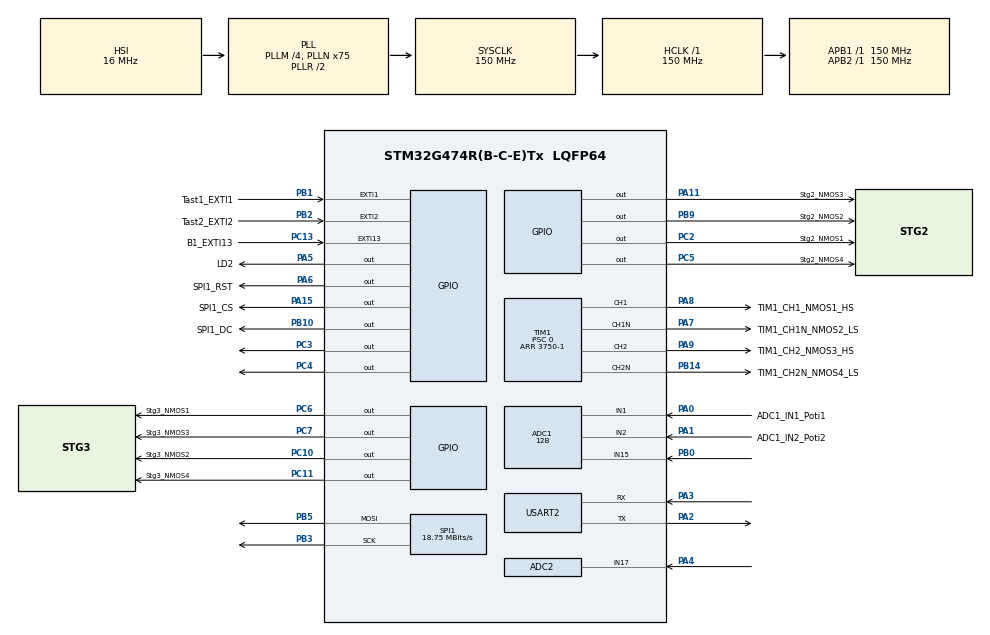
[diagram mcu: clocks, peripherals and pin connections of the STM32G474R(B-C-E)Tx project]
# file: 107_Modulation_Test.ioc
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ADC1.Channel-2\#ChannelRegularConversion=ADC_CHANNEL_1
ADC1.Channel-3\#ChannelRegularConversion=ADC_CHANNEL_2
ADC1.Channel-4\#ChannelRegularConversion=ADC_CHANNEL_15
ADC1.ContinuousConvMode=ENABLE
ADC1.DMAContinuousRequests=ENABLE
ADC1.EOCSelection=ADC_EOC_SEQ_CONV
ADC1.NbrOfConversion=3
ADC1.NbrOfConversionFlag=1
ADC1.OffsetNumber-2\#ChannelRegularConversion=ADC_OFFSET_NONE
ADC1.OffsetNumber-3\#ChannelRegularConversion=ADC_OFFSET_NONE
ADC1.OffsetNumber-4\#ChannelRegularConversion=ADC_OFFSET_NONE
ADC1.Overrun=ADC_OVR_DATA_PRESERVED
ADC1.Rank-2\#ChannelRegularConversion=1
ADC1.Rank-3\#ChannelRegularConversion=2
ADC1.Rank-4\#ChannelRegularConversion=3
ADC1.Resolution=ADC_RESOLUTION_12B
ADC1.SamplingTime-2\#ChannelRegularConversion=ADC_SAMPLETIME_640CYCLES_5
ADC1.SamplingTime-3\#ChannelRegularConversion=ADC_SAMPLETIME_640CYCLES_5
ADC1.SamplingTime-4\#ChannelRegularConversion=ADC_SAMPLETIME_640CYCLES_5
ADC1.master=1
ADC2.Channel-0\#ChannelRegularConversion=ADC_CHANNEL_17
ADC2.ContinuousConvMode=ENABLE
ADC2.DMAContinuousRequests=ENABLE
ADC2.EOCSelection=ADC_EOC_SEQ_CONV
ADC2.NbrOfConversion=1
ADC2.NbrOfConversionFlag=1
ADC2.OffsetNumber-0\#ChannelRegularConversion=ADC_OFFSET_NONE
ADC2.Overrun=ADC_OVR_DATA_PRESERVED
ADC2.Rank-0\#ChannelRegularConversion=1
ADC2.Resolution=ADC_RESOLUTION_12B
ADC2.SamplingTime-0\#ChannelRegularConversion=ADC_SAMPLETIME_640CYCLES_5
Dma.ADC1.0.Direction=DMA_PERIPH_TO_MEMORY
Dma.ADC1.0.EventEnable=DISABLE
Dma.ADC1.0.Instance=DMA1_Channel3
Dma.ADC1.0.MemDataAlignment=DMA_MDATAALIGN_WORD
Dma.ADC1.0.MemInc=DMA_MINC_ENABLE
Dma.ADC1.0.Mode=DMA_CIRCULAR
Dma.ADC1.0.PeriphDataAlignment=DMA_PDATAALIGN_WORD
Dma.ADC1.0.PeriphInc=DMA_PINC_DISABLE
Dma.ADC1.0.Polarity=HAL_DMAMUX_REQ_GEN_RISING
Dma.ADC1.0.Priority=DMA_PRIORITY_LOW
Dma.ADC1.0.RequestNumber=1
Dma.ADC1.0.SignalID=NONE
Dma.ADC1.0.SyncEnable=DISABLE
Dma.ADC1.0.SyncPolarity=HAL_DMAMUX_SYNC_NO_EVENT
Dma.ADC1.0.SyncRequestNumber=1
Dma.ADC1.0.SyncSignalID=NONE
Dma.ADC2.1.Direction=DMA_PERIPH_TO_MEMORY
Dma.ADC2.1.EventEnable=DISABLE
Dma.ADC2.1.Instance=DMA2_Channel1
Dma.ADC2.1.MemDataAlignment=DMA_MDATAALIGN_WORD
Dma.ADC2.1.MemInc=DMA_MINC_ENABLE
Dma.ADC2.1.Mode=DMA_CIRCULAR
Dma.ADC2.1.PeriphDataAlignment=DMA_PDATAALIGN_WORD
Dma.ADC2.1.PeriphInc=DMA_PINC_DISABLE
Dma.ADC2.1.Polarity=HAL_DMAMUX_REQ_GEN_RISING
Dma.ADC2.1.Priority=DMA_PRIORITY_LOW
Dma.ADC2.1.RequestNumber=1
Dma.ADC2.1.SignalID=NONE
Dma.ADC2.1.SyncEnable=DISABLE
Dma.ADC2.1.SyncPolarity=HAL_DMAMUX_SYNC_NO_EVENT
Dma.ADC2.1.SyncRequestNumber=1
Dma.ADC2.1.SyncSignalID=NONE
Dma.Request0=ADC1
Dma.Request1=ADC2
Dma.Request2=TIM1_CH1
Dma.Request3=TIM1_CH2
Dma.TIM1_CH1.2.Direction=DMA_MEMORY_TO_PERIPH
Dma.TIM1_CH1.2.EventEnable=DISABLE
Dma.TIM1_CH1.2.Instance=DMA1_Channel1
Dma.TIM1_CH1.2.MemDataAlignment=DMA_MDATAALIGN_WORD
Dma.TIM1_CH1.2.MemInc=DMA_MINC_ENABLE
Dma.TIM1_CH1.2.Mode=DMA_CIRCULAR
Dma.TIM1_CH1.2.PeriphDataAlignment=DMA_PDATAALIGN_WORD
Dma.TIM1_CH1.2.PeriphInc=DMA_PINC_DISABLE
Dma.TIM1_CH1.2.Polarity=HAL_DMAMUX_REQ_GEN_RISING
Dma.TIM1_CH1.2.Priority=DMA_PRIORITY_LOW
Dma.TIM1_CH1.2.RequestNumber=1
Dma.TIM1_CH1.2.SignalID=NONE
Dma.TIM1_CH1.2.SyncEnable=DISABLE
Dma.TIM1_CH1.2.SyncPolarity=HAL_DMAMUX_SYNC_NO_EVENT
Dma.TIM1_CH1.2.SyncRequestNumber=1
Dma.TIM1_CH1.2.SyncSignalID=NONE
Dma.TIM1_CH2.3.Direction=DMA_MEMORY_TO_PERIPH
Dma.TIM1_CH2.3.EventEnable=DISABLE
Dma.TIM1_CH2.3.Instance=DMA1_Channel2
Dma.TIM1_CH2.3.MemDataAlignment=DMA_MDATAALIGN_WORD
Dma.TIM1_CH2.3.MemInc=DMA_MINC_ENABLE
Dma.TIM1_CH2.3.Mode=DMA_CIRCULAR
Dma.TIM1_CH2.3.PeriphDataAlignment=DMA_PDATAALIGN_WORD
Dma.TIM1_CH2.3.PeriphInc=DMA_PINC_DISABLE
Dma.TIM1_CH2.3.Polarity=HAL_DMAMUX_REQ_GEN_RISING
Dma.TIM1_CH2.3.Priority=DMA_PRIORITY_LOW
Dma.TIM1_CH2.3.RequestNumber=1
Dma.TIM1_CH2.3.SignalID=NONE
Dma.TIM1_CH2.3.SyncEnable=DISABLE
Dma.TIM1_CH2.3.SyncPolarity=HAL_DMAMUX_SYNC_NO_EVENT
Dma.TIM1_CH2.3.SyncRequestNumber=1
Dma.TIM1_CH2.3.SyncSignalID=NONE
Mcu.Family=STM32G4
Mcu.Name=STM32G474R(B-C-E)Tx
Mcu.Package=LQFP64
NVIC.DMA1_Channel1_IRQn=true\:0\:0\:false\:false\:true\:false\:true\:true
NVIC.DMA1_Channel2_IRQn=true\:0\:0\:false\:false\:true\:false\:true\:true
NVIC.DMA1_Channel3_IRQn=true\:0\:0\:false\:false\:true\:false\:true\:true
NVIC.DMA2_Channel1_IRQn=true\:0\:0\:false\:false\:true\:false\:true\:true
NVIC.EXTI15_10_IRQn=true\:0\:0\:false\:false\:true\:true\:true\:true
NVIC.EXTI1_IRQn=true\:0\:0\:false\:false\:true\:true\:true\:true
NVIC.EXTI2_IRQn=true\:0\:0\:false\:false\:true\:true\:true\:true
NVIC.PriorityGroup=NVIC_PRIORITYGROUP_4
NVIC.TIM1_TRG_COM_TIM17_IRQn=true\:0\:0\:false\:false\:true\:true\:true\:true
NVIC.TIM1_UP_TIM16_IRQn=true\:0\:0\:false\:false\:true\:true\:true\:true
PA0.GPIO_Label=ADC1_IN1_Poti1
PA0.Mode=IN1-Single-Ended
PA0.Signal=ADC1_IN1
PA1.GPIO_Label=ADC1_IN2_Poti2
PA1.Mode=IN2-Single-Ended
PA1.Signal=ADC1_IN2
PA11.GPIO_Label=Stg2_NMOS3
PA11.Signal=GPIO_Output
PA13.Mode=Serial_Wire
PA13.Signal=SYS_JTMS-SWDIO
PA14.Mode=Serial_Wire
PA14.Signal=SYS_JTCK-SWCLK
PA15.GPIO_Label=SPI1_CS
PA15.Signal=GPIO_Output
PA2.Mode=Asynchronous
PA2.Signal=USART2_TX
PA3.Mode=Asynchronous
PA3.Signal=USART2_RX
PA4.Mode=IN17-Single-Ended
PA4.Signal=ADC2_IN17
PA5.GPIO_Label=LD2
PA5.Signal=GPIO_Output
PA6.GPIO_Label=SPI1_RST
PA6.Signal=GPIO_Output
PA7.GPIO_Label=TIM1_CH1N_NMOS2_LS
PA7.GPIO_ModeDefaultPP=GPIO_MODE_AF_PP
PA7.GPIO_PuPd=GPIO_PULLDOWN
PA7.GPIO_Speed=GPIO_SPEED_FREQ_LOW
PA7.Mode=PWM Generation1 CH1 CH1N
PA7.Signal=TIM1_CH1N
PA8.GPIO_Label=TIM1_CH1_NMOS1_HS
PA8.GPIO_ModeDefaultPP=GPIO_MODE_AF_PP
PA8.GPIO_PuPd=GPIO_PULLDOWN
PA8.GPIO_Speed=GPIO_SPEED_FREQ_LOW
PA8.Signal=S_TIM1_CH1
PA9.GPIO_Label=TIM1_CH2_NMOS3_HS
PA9.GPIO_ModeDefaultPP=GPIO_MODE_AF_PP
PA9.GPIO_PuPd=GPIO_PULLDOWN
PA9.Signal=S_TIM1_CH2
PB0.Mode=IN15-Single-Ended
PB0.Signal=ADC1_IN15
PB1.GPIO_Label=Tast1_EXTI1
PB1.GPIO_ModeDefaultEXTI=GPIO_MODE_IT_RISING
PB1.GPIO_PuPd=GPIO_PULLDOWN
PB1.Signal=GPXTI1
PB10.GPIO_Label=SPI1_DC
PB10.Signal=GPIO_Output
PB14.GPIO_Label=TIM1_CH2N_NMOS4_LS
PB14.GPIO_ModeDefaultPP=GPIO_MODE_AF_PP
PB14.GPIO_PuPd=GPIO_PULLDOWN
PB14.Mode=PWM Generation2 CH2 CH2N
PB14.Signal=TIM1_CH2N
PB2.GPIO_Label=Tast2_EXTI2
PB2.GPIO_PuPd=GPIO_PULLDOWN
PB2.Signal=GPXTI2
PB3.Mode=TX_Only_Simplex_Unidirect_Master
PB3.Signal=SPI1_SCK
PB5.Mode=TX_Only_Simplex_Unidirect_Master
PB5.Signal=SPI1_MOSI
PB9.GPIO_Label=Stg2_NMOS2
PB9.Signal=GPIO_Output
PC10.GPIO_Label=Stg3_NMOS2
PC10.Signal=GPIO_Output
PC11.GPIO_Label=Stg3_NMOS4
PC11.Signal=GPIO_Output
PC13.GPIO_Label=B1_EXTI13
PC13.GPIO_ModeDefaultEXTI=GPIO_MODE_IT_RISING
PC13.GPIO_PuPd=GPIO_NOPULL
PC13.Signal=GPXTI13
PC2.GPIO_Label=Stg2_NMOS1
PC2.Signal=GPIO_Output
PC3.Signal=GPIO_Output
PC4.Signal=GPIO_Output
PC5.GPIO_Label=Stg2_NMOS4
PC5.Signal=GPIO_Output
PC6.GPIO_Label=Stg3_NMOS1
PC6.Signal=GPIO_Output
PC7.GPIO_Label=Stg3_NMOS3
PC7.Signal=GPIO_Output
PF0-OSC_IN.Mode=HSE-External-Oscillator
PF0-OSC_IN.Signal=RCC_OSC_IN
PF1-OSC_OUT.Mode=HSE-External-Oscillator
PF1-OSC_OUT.Signal=RCC_OSC_OUT
ProjectManager.HeapSize=0x200
ProjectManager.StackSize=0x400
ProjectManager.TargetToolchain=STM32CubeIDE
RCC.ADC12Freq_Value=150000000
RCC.ADC345Freq_Value=150000000
RCC.AHBFreq_Value=150000000
RCC.APB1Freq_Value=150000000
RCC.APB1TimFreq_Value=150000000
RCC.APB2Freq_Value=150000000
RCC.APB2TimFreq_Value=150000000
RCC.CortexFreq_Value=150000000
RCC.EXTERNAL_CLOCK_VALUE=12288000
RCC.HCLKFreq_Value=150000000
RCC.HSE_VALUE=48000000
RCC.HSI48_VALUE=48000000
RCC.HSI_VALUE=16000000
RCC.LSE_VALUE=32768
RCC.PLLM=RCC_PLLM_DIV4
RCC.PLLN=75
RCC.SYSCLKFreq_VALUE=150000000
RCC.SYSCLKSource=RCC_SYSCLKSOURCE_PLLCLK
RCC.USBFreq_Value=150000000
RCC.VCOOutputFreq_Value=300000000
SH.S_TIM1_CH1.0=TIM1_CH1,PWM Generation1 CH1 CH1N
SH.S_TIM1_CH2.0=TIM1_CH2,PWM Generation2 CH2 CH2N
SPI1.BaudRatePrescaler=SPI_BAUDRATEPRESCALER_8
SPI1.CLKPolarity=SPI_POLARITY_LOW
SPI1.CalculateBaudRate=18.75 MBits/s
SPI1.DataSize=SPI_DATASIZE_8BIT
SPI1.Direction=SPI_DIRECTION_2LINES
SPI1.Mode=SPI_MODE_MASTER
SPI1.VirtualType=VM_MASTER
TIM1.AsymmetricalDeadTime=DISABLE
TIM1.AutoReloadPreload=TIM_AUTORELOAD_PRELOAD_ENABLE
TIM1.AutomaticOutput=TIM_AUTOMATICOUTPUT_ENABLE
TIM1.Channel-PWM\ Generation1\ CH1\ CH1N=TIM_CHANNEL_1
TIM1.Channel-PWM\ Generation2\ CH2\ CH2N=TIM_CHANNEL_2
TIM1.CounterMode=TIM_COUNTERMODE_CENTERALIGNED2
TIM1.DeadTime=139
TIM1.OCFastMode_PWM-PWM\ Generation1\ CH1\ CH1N=TIM_OCFAST_ENABLE
TIM1.OCFastMode_PWM-PWM\ Generation2\ CH2\ CH2N=TIM_OCFAST_ENABLE
TIM1.OCIdleState_1=TIM_OCIDLESTATE_RESET
TIM1.OCIdleState_2=TIM_OCIDLESTATE_RESET
TIM1.OCMode_PWM-PWM\ Generation2\ CH2\ CH2N=TIM_OCMODE_PWM2
TIM1.OCNIdleState_1=TIM_OCNIDLESTATE_RESET
TIM1.OCNIdleState_2=TIM_OCNIDLESTATE_RESET
TIM1.OCNPolarity_1=TIM_OCNPOLARITY_HIGH
TIM1.OCNPolarity_2=TIM_OCNPOLARITY_HIGH
TIM1.OCPolarity_1=TIM_OCPOLARITY_HIGH
TIM1.OCPolarity_2=TIM_OCPOLARITY_HIGH
TIM1.OffStateIDLEMode=TIM_OSSI_DISABLE
TIM1.OffStateRunMode=TIM_OSSR_DISABLE
TIM1.PeriodNoDither=3750-1
TIM1.Prescaler=0
TIM1.RepetitionCounter=0
TIM16.PeriodNoDither=1000
TIM16.Prescaler=15000 - 1
TIM17.PeriodNoDither=5000
TIM17.Prescaler=15000-1
USART2.VirtualMode-Asynchronous=VM_ASYNC
VP_SYS_VS_DBSignals.Mode=DisableDeadBatterySignals
VP_TIM16_VS_ClockSourceINT.Mode=Enable_Timer
VP_TIM17_VS_ClockSourceINT.Mode=Enable_Timer
VP_TIM1_VS_ClockSourceINT.Mode=Internal
board=custom

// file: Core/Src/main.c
/* USER CODE BEGIN Header */
/**
 ******************************************************************************
 * @file           : main.c
 * @brief          : Main program body
 ******************************************************************************
 Mit diesem Code wird ein Sinussignal mit 4 PWM Signalen moduliert. Der Code ist
 für eine H-Brücke geeignet.

 State IDLE:
 Im State IDLE sind die ADC-Messungen und PWM Signale gestoppt.

 State SINUS_MOD:
 Im State ADC_Values werden die ADC Werte auf dem Display und in der Putty Konsole angezeigt.
 Wenn ein Taster gedrückt wird, erfolgt eine Meldung auf dem Display und in der Konsole.
 Die ADC Werte werden mit dem DMA direkt vom ADC in die Arrays AD_RES_BUFFER_ADC1
 und AD_RES_BUFFER_ADC2 übertragen. Dies benötigt keine CPU Zeit und es können mehrere Kanäle
 eines ADCs ausgelesen werden ohne das die HAL neu konfiguriert werden muss.
 Mit der Timer Callback Funktion HAL_TIM_PeriodElapsedCallback wird das Display und
 die Konsole alle 0.5s aktualisiert.
 Die PWM Signale können dynamisch mit der funktion in Bezug auf die Frequenz f0
 und Amplitude A0 erzeugt werden. Die LookUp Tabelle welche für das CCR Register der
 Timerbausteine erstellt wird, wird in der Konsole beim Übergang vom State IDLE
 zum State SINUS_MOD angezeigt. Die dynamische allozierung ist in der Funktion
 set_pwm_values() umgesetzt und die Freigabe des Speichers erfolt im leave der
 State Machine.

 Der Blaue User Button B1 wird für die Umschaltung zwischen den States verwendet.
 Die externen Buttons haben zurzeit noch keine Funktion.

 ******************************************************************************
 */
/* USER CODE END Header */
#include "main.h"

/* USER CODE BEGIN Includes */
#include "ST7735.h"
#include "GFX_FUNCTIONS.h"
#include "task_handler.h"
#include <stdbool.h>
#include <math.h>
/* USER CODE END Includes */

ADC_HandleTypeDef hadc1;
ADC_HandleTypeDef hadc2;
DMA_HandleTypeDef hdma_adc1;
DMA_HandleTypeDef hdma_adc2;

SPI_HandleTypeDef hspi1;

TIM_HandleTypeDef htim1;
TIM_HandleTypeDef htim16;
TIM_HandleTypeDef htim17;
DMA_HandleTypeDef hdma_tim1_ch1;
DMA_HandleTypeDef hdma_tim1_ch2;

UART_HandleTypeDef huart2;

/* USER CODE BEGIN PV */
uint8_t px_ofs2 = 15;			// Offset in pixel
// Arrays für ADC Messungen, DMA schreibt direkt in diese Arrays
uint32_t AD_RES_BUFFER_ADC1[3];
uint32_t AD_RES_BUFFER_ADC2[1];
// Char Array für Konsole
char msg_console[80];
// Char Array für Display
char msg_display[20];
// PWM Modulation
const uint32_t fPWM = 20000;	// Schaltfrequenz in [Hz]
const uint32_t f0 = 250;		// Zu modulierende Frequenz [Hz]
const float A0 = 1;				// Zu modulierende Amplitude [0...1]
/* USER CODE END PV */

void SystemClock_Config(void);
static void MX_GPIO_Init(void);
static void MX_DMA_Init(void);
static void MX_SPI1_Init(void);
static void MX_TIM16_Init(void);
static void MX_ADC1_Init(void);
static void MX_USART2_UART_Init(void);
static void MX_TIM17_Init(void);
static void MX_ADC2_Init(void);
static void MX_TIM1_Init(void);

/* USER CODE BEGIN 0 */
/* Interrupts *****************************************************************/
// GPIO Callback
void HAL_GPIO_EXTI_Callback(uint16_t GPIO_Pin) {
	/* Prevent unused argument(s) compilation warning */
	UNUSED(GPIO_Pin);
	// Interrupt Routine
	switch (GPIO_Pin) {
	case B1_EXTI13_Pin: // B1 pressed
		switch (handler_state) {
		case IDLE:
			set_handler_state(SINUS_MOD);
			break;
		case SINUS_MOD:
			set_handler_state(IDLE);
			break;
		default:
			set_handler_state(IDLE);
			break;
		}
		break;
	case Tast1_EXTI1_Pin: // Taster1 pressed
		// Display
		// Clear Last Button Message
		ST7735_FillRectangle(0, 6 * px_ofs2, 0, px_ofs2, BLACK);
		sprintf(msg_display, "Taster1 gedrueckt!");
		ST7735_WriteString(0, 7 * px_ofs2, msg_display, Font_7x10, GREEN,
		BLACK);
		// Console
		sprintf(msg_console, "Taster1 gedrückt! \r\n");
		HAL_UART_Transmit(&huart2, (uint8_t*) msg_console, strlen(msg_console),
		HAL_MAX_DELAY);
		break;
	case Tast2_EXTI2_Pin: // Taster2 pressed
		// Display
		// Clear Last Button Message
		ST7735_FillRectangle(0, 6 * px_ofs2, 0, px_ofs2, BLACK);
		sprintf(msg_display, "Taster2 gedrueckt!");
		ST7735_WriteString(0, 7 * px_ofs2, msg_display, Font_7x10, GREEN,
		BLACK);
		// Console
		sprintf(msg_console, "Taster2 gedrückt! \r\n");
		HAL_UART_Transmit(&huart2, (uint8_t*) msg_console, strlen(msg_console),
		HAL_MAX_DELAY);
		break;
	default:
		break;
	}
}

// Timer timeout Callback
void HAL_TIM_PeriodElapsedCallback(TIM_HandleTypeDef *htim) {
	// Überprüfe welcher Timer diese callback Funktion aufruft
	// time_val um 100ms inkrementieren
	if (htim == &htim16) {
		HAL_GPIO_TogglePin(GPIOC, GPIO_PIN_3);
		if (handler_state == SINUS_MOD) {
			inc_handler_currentTime(100);
		}
	}
	// Display und Konsole alle 0.5s aktualisieren
	else if (htim == &htim17) {
		switch (handler_state) {
		case IDLE:
			ST7735_WriteString(0, px_ofs2, "Poti1: xx", Font_7x10, GREEN,
			BLACK);
			ST7735_WriteString(0, 2 * px_ofs2, "Poti2: xx", Font_7x10, GREEN,
			BLACK);
			ST7735_WriteString(0, 3 * px_ofs2, "BNC1: xx", Font_7x10, GREEN,
			BLACK);
			ST7735_WriteString(0, 4 * px_ofs2, "BNC2: xx", Font_7x10, GREEN,
			BLACK);
			break;
		case SINUS_MOD:
			// Display
			adc_values *ptr = get_adc_values();
			sprintf(msg_display, "Poti1: %2.2fV", ptr->poti1_Vf);
			ST7735_WriteString(0, px_ofs2, msg_display, Font_7x10, GREEN,
			BLACK);
			sprintf(msg_display, "Poti2: %2.2fV", ptr->poti2_Vf);
			ST7735_WriteString(0, 2 * px_ofs2, msg_display, Font_7x10, GREEN,
			BLACK);
			sprintf(msg_display, "BNC1:  %2.2fV", ptr->bnc1_Vf);
			ST7735_WriteString(0, 3 * px_ofs2, msg_display, Font_7x10, GREEN,
			BLACK);
			sprintf(msg_display, "BNC2:  %2.2fV", ptr->bnc2_Vf);
			ST7735_WriteString(0, 4 * px_ofs2, msg_display, Font_7x10, GREEN,
			BLACK);
			sprintf(msg_display, "f0 =  %4luHz", f0);
			ST7735_WriteString(0, 5 * px_ofs2, msg_display, Font_7x10, GREEN,
			BLACK);
			sprintf(msg_display, "A0 =  %2.2f%%", 100.0 * A0);
			ST7735_WriteString(0, 6 * px_ofs2, msg_display, Font_7x10, GREEN,
			BLACK);
			// Console
			sprintf(msg_console,
					"Poti1: %2.2fV | Poti2: %2.2fV | bnc1: %2.2fV | bnc2: %2.2fV \r\n", //| f0 = %4luHz | A0 = %2.2f%% \r\n",
					ptr->poti1_Vf, ptr->poti2_Vf, ptr->bnc1_Vf, ptr->bnc2_Vf); //, f0, 100.0*A0);
			HAL_UART_Transmit(&huart2, (uint8_t*) msg_console,
					strlen(msg_console), HAL_MAX_DELAY);
			break;
		default:
			set_handler_state(IDLE);
			break;
		}
	}
}

/* ADC *******************************************************************/
// DMA Callback
// Diese Callback Funktion kann aktiviert werden, wenn der DMA Transfer überprüft werden soll.
//void HAL_ADC_ConvCpltCallback(ADC_HandleTypeDef* hadc)
//{
//    // Conversion Complete & DMA Transfer Complete As Well
//    // So The AD_RES_BUFFER Is Now Updated & Let's Move Values To The PWM CCRx
//    // Update The PWM Channels With Latest ADC Scan Conversion Results
//	if(hadc == &hadc1)
//	{
//	    uint16_t poti1_raw = (AD_RES_BUFFER_ADC1[0] << 4); // Map 12 Bit to 16 Bit values
//	    poti1_V = (3.3*(float)poti1_raw)/65535;
//	    uint16_t poti2_raw = (AD_RES_BUFFER_ADC1[1] << 4);
//	    poti2_V = (3.3*(float)poti2_raw)/65535;
//	    uint16_t bnc1_raw = (AD_RES_BUFFER_ADC1[2] << 4);
//	    bnc1_V = (3.3*(float)bnc1_raw)/65535;
//	}
//	else if(hadc == &hadc2)
//	{
//	    uint16_t bnc2_raw = (AD_RES_BUFFER_ADC2[0] << 4);
//	    bnc2_V = (3.3*(float)bnc2_raw)/65535;
//	}
//}
/* USER CODE END 0 */

int main(void)
{

  /* MCU Configuration--------------------------------------------------------*/

  /* Reset of all peripherals, Initializes the Flash interface and the Systick. */
  HAL_Init();

  /* Configure the system clock */
  SystemClock_Config();

  /* Initialize all configured peripherals */
  MX_GPIO_Init();
  MX_DMA_Init();
  MX_SPI1_Init();
  MX_TIM16_Init();
  MX_ADC1_Init();
  MX_USART2_UART_Init();
  MX_TIM17_Init();
  MX_ADC2_Init();
  MX_TIM1_Init();
  /* USER CODE BEGIN 2 */

	// Display Init
	ST7735_Init(1);
	fillScreen(BLACK);

	// Set first State
	set_handler_state(IDLE);

  /* USER CODE END 2 */

  /* Infinite loop */
	while (1) {

    /* USER CODE BEGIN 3 */
		// Run StateMachine
		handler_task();
	}
  /* USER CODE END 3 */
}

void SystemClock_Config(void)
{
  RCC_OscInitTypeDef RCC_OscInitStruct = {0};
  RCC_ClkInitTypeDef RCC_ClkInitStruct = {0};

  /** Configure the main internal regulator output voltage
  */
  HAL_PWREx_ControlVoltageScaling(PWR_REGULATOR_VOLTAGE_SCALE1);

  /** Initializes the RCC Oscillators according to the specified parameters
  * in the RCC_OscInitTypeDef structure.
  */
  RCC_OscInitStruct.OscillatorType = RCC_OSCILLATORTYPE_HSI;
  RCC_OscInitStruct.HSIState = RCC_HSI_ON;
  RCC_OscInitStruct.HSICalibrationValue = RCC_HSICALIBRATION_DEFAULT;
  RCC_OscInitStruct.PLL.PLLState = RCC_PLL_ON;
  RCC_OscInitStruct.PLL.PLLSource = RCC_PLLSOURCE_HSI;
  RCC_OscInitStruct.PLL.PLLM = RCC_PLLM_DIV4;
  RCC_OscInitStruct.PLL.PLLN = 75;
  RCC_OscInitStruct.PLL.PLLP = RCC_PLLP_DIV2;
  RCC_OscInitStruct.PLL.PLLQ = RCC_PLLQ_DIV2;
  RCC_OscInitStruct.PLL.PLLR = RCC_PLLR_DIV2;
  if (HAL_RCC_OscConfig(&RCC_OscInitStruct) != HAL_OK)
  {
    Error_Handler();
  }

  /** Initializes the CPU, AHB and APB buses clocks
  */
  RCC_ClkInitStruct.ClockType = RCC_CLOCKTYPE_HCLK|RCC_CLOCKTYPE_SYSCLK
                              |RCC_CLOCKTYPE_PCLK1|RCC_CLOCKTYPE_PCLK2;
  RCC_ClkInitStruct.SYSCLKSource = RCC_SYSCLKSOURCE_PLLCLK;
  RCC_ClkInitStruct.AHBCLKDivider = RCC_SYSCLK_DIV1;
  RCC_ClkInitStruct.APB1CLKDivider = RCC_HCLK_DIV1;
  RCC_ClkInitStruct.APB2CLKDivider = RCC_HCLK_DIV1;

  if (HAL_RCC_ClockConfig(&RCC_ClkInitStruct, FLASH_LATENCY_4) != HAL_OK)
  {
    Error_Handler();
  }
}

static void MX_ADC1_Init(void)
{

  ADC_MultiModeTypeDef multimode = {0};
  ADC_ChannelConfTypeDef sConfig = {0};

  /** Common config
  */
  hadc1.Instance = ADC1;
  hadc1.Init.ClockPrescaler = ADC_CLOCK_SYNC_PCLK_DIV4;
  hadc1.Init.Resolution = ADC_RESOLUTION_12B;
  hadc1.Init.DataAlign = ADC_DATAALIGN_RIGHT;
  hadc1.Init.GainCompensation = 0;
  hadc1.Init.ScanConvMode = ADC_SCAN_ENABLE;
  hadc1.Init.EOCSelection = ADC_EOC_SEQ_CONV;
  hadc1.Init.LowPowerAutoWait = DISABLE;
  hadc1.Init.ContinuousConvMode = ENABLE;
  hadc1.Init.NbrOfConversion = 3;
  hadc1.Init.DiscontinuousConvMode = DISABLE;
  hadc1.Init.ExternalTrigConv = ADC_SOFTWARE_START;
  hadc1.Init.ExternalTrigConvEdge = ADC_EXTERNALTRIGCONVEDGE_NONE;
  hadc1.Init.DMAContinuousRequests = ENABLE;
  hadc1.Init.Overrun = ADC_OVR_DATA_PRESERVED;
  hadc1.Init.OversamplingMode = DISABLE;
  if (HAL_ADC_Init(&hadc1) != HAL_OK)
  {
    Error_Handler();
  }

  /** Configure the ADC multi-mode
  */
  multimode.Mode = ADC_MODE_INDEPENDENT;
  if (HAL_ADCEx_MultiModeConfigChannel(&hadc1, &multimode) != HAL_OK)
  {
    Error_Handler();
  }

  /** Configure Regular Channel
  */
  sConfig.Channel = ADC_CHANNEL_1;
  sConfig.Rank = ADC_REGULAR_RANK_1;
  sConfig.SamplingTime = ADC_SAMPLETIME_640CYCLES_5;
  sConfig.SingleDiff = ADC_SINGLE_ENDED;
  sConfig.OffsetNumber = ADC_OFFSET_NONE;
  sConfig.Offset = 0;
  if (HAL_ADC_ConfigChannel(&hadc1, &sConfig) != HAL_OK)
  {
    Error_Handler();
  }

  /** Configure Regular Channel
  */
  sConfig.Channel = ADC_CHANNEL_2;
  sConfig.Rank = ADC_REGULAR_RANK_2;
  if (HAL_ADC_ConfigChannel(&hadc1, &sConfig) != HAL_OK)
  {
    Error_Handler();
  }

  /** Configure Regular Channel
  */
  sConfig.Channel = ADC_CHANNEL_15;
  sConfig.Rank = ADC_REGULAR_RANK_3;
  if (HAL_ADC_ConfigChannel(&hadc1, &sConfig) != HAL_OK)
  {
    Error_Handler();
  }

}

static void MX_ADC2_Init(void)
{

  ADC_ChannelConfTypeDef sConfig = {0};

  /** Common config
  */
  hadc2.Instance = ADC2;
  hadc2.Init.ClockPrescaler = ADC_CLOCK_SYNC_PCLK_DIV4;
  hadc2.Init.Resolution = ADC_RESOLUTION_12B;
  hadc2.Init.DataAlign = ADC_DATAALIGN_RIGHT;
  hadc2.Init.GainCompensation = 0;
  hadc2.Init.ScanConvMode = ADC_SCAN_DISABLE;
  hadc2.Init.EOCSelection = ADC_EOC_SEQ_CONV;
  hadc2.Init.LowPowerAutoWait = DISABLE;
  hadc2.Init.ContinuousConvMode = ENABLE;
  hadc2.Init.NbrOfConversion = 1;
  hadc2.Init.DiscontinuousConvMode = DISABLE;
  hadc2.Init.ExternalTrigConv = ADC_SOFTWARE_START;
  hadc2.Init.ExternalTrigConvEdge = ADC_EXTERNALTRIGCONVEDGE_NONE;
  hadc2.Init.DMAContinuousRequests = ENABLE;
  hadc2.Init.Overrun = ADC_OVR_DATA_PRESERVED;
  hadc2.Init.OversamplingMode = DISABLE;
  if (HAL_ADC_Init(&hadc2) != HAL_OK)
  {
    Error_Handler();
  }

  /** Configure Regular Channel
  */
  sConfig.Channel = ADC_CHANNEL_17;
  sConfig.Rank = ADC_REGULAR_RANK_1;
  sConfig.SamplingTime = ADC_SAMPLETIME_640CYCLES_5;
  sConfig.SingleDiff = ADC_SINGLE_ENDED;
  sConfig.OffsetNumber = ADC_OFFSET_NONE;
  sConfig.Offset = 0;
  if (HAL_ADC_ConfigChannel(&hadc2, &sConfig) != HAL_OK)
  {
    Error_Handler();
  }

}

static void MX_SPI1_Init(void)
{

  /* SPI1 parameter configuration*/
  hspi1.Instance = SPI1;
  hspi1.Init.Mode = SPI_MODE_MASTER;
  hspi1.Init.Direction = SPI_DIRECTION_2LINES;
  hspi1.Init.DataSize = SPI_DATASIZE_8BIT;
  hspi1.Init.CLKPolarity = SPI_POLARITY_LOW;
  hspi1.Init.CLKPhase = SPI_PHASE_1EDGE;
  hspi1.Init.NSS = SPI_NSS_SOFT;
  hspi1.Init.BaudRatePrescaler = SPI_BAUDRATEPRESCALER_8;
  hspi1.Init.FirstBit = SPI_FIRSTBIT_MSB;
  hspi1.Init.TIMode = SPI_TIMODE_DISABLE;
  hspi1.Init.CRCCalculation = SPI_CRCCALCULATION_DISABLE;
  hspi1.Init.CRCPolynomial = 7;
  hspi1.Init.CRCLength = SPI_CRC_LENGTH_DATASIZE;
  hspi1.Init.NSSPMode = SPI_NSS_PULSE_ENABLE;
  if (HAL_SPI_Init(&hspi1) != HAL_OK)
  {
    Error_Handler();
  }

}

static void MX_TIM1_Init(void)
{

  TIM_ClockConfigTypeDef sClockSourceConfig = {0};
  TIM_MasterConfigTypeDef sMasterConfig = {0};
  TIM_OC_InitTypeDef sConfigOC = {0};
  TIM_BreakDeadTimeConfigTypeDef sBreakDeadTimeConfig = {0};

  htim1.Instance = TIM1;
  htim1.Init.Prescaler = 0;
  htim1.Init.CounterMode = TIM_COUNTERMODE_CENTERALIGNED2;
  htim1.Init.Period = 3749;
  htim1.Init.ClockDivision = TIM_CLOCKDIVISION_DIV1;
  htim1.Init.RepetitionCounter = 0;
  htim1.Init.AutoReloadPreload = TIM_AUTORELOAD_PRELOAD_ENABLE;
  if (HAL_TIM_Base_Init(&htim1) != HAL_OK)
  {
    Error_Handler();
  }
  sClockSourceConfig.ClockSource = TIM_CLOCKSOURCE_INTERNAL;
  if (HAL_TIM_ConfigClockSource(&htim1, &sClockSourceConfig) != HAL_OK)
  {
    Error_Handler();
  }
  if (HAL_TIM_PWM_Init(&htim1) != HAL_OK)
  {
    Error_Handler();
  }
  sMasterConfig.MasterOutputTrigger = TIM_TRGO_RESET;
  sMasterConfig.MasterOutputTrigger2 = TIM_TRGO2_RESET;
  sMasterConfig.MasterSlaveMode = TIM_MASTERSLAVEMODE_DISABLE;
  if (HAL_TIMEx_MasterConfigSynchronization(&htim1, &sMasterConfig) != HAL_OK)
  {
    Error_Handler();
  }
  sConfigOC.OCMode = TIM_OCMODE_PWM1;
  sConfigOC.Pulse = 0;
  sConfigOC.OCPolarity = TIM_OCPOLARITY_HIGH;
  sConfigOC.OCNPolarity = TIM_OCNPOLARITY_HIGH;
  sConfigOC.OCFastMode = TIM_OCFAST_DISABLE;
  sConfigOC.OCIdleState = TIM_OCIDLESTATE_RESET;
  sConfigOC.OCNIdleState = TIM_OCNIDLESTATE_RESET;
  if (HAL_TIM_PWM_ConfigChannel(&htim1, &sConfigOC, TIM_CHANNEL_1) != HAL_OK)
  {
    Error_Handler();
  }
  sConfigOC.OCMode = TIM_OCMODE_PWM2;
  if (HAL_TIM_PWM_ConfigChannel(&htim1, &sConfigOC, TIM_CHANNEL_2) != HAL_OK)
  {
    Error_Handler();
  }
  sBreakDeadTimeConfig.OffStateRunMode = TIM_OSSR_DISABLE;
  sBreakDeadTimeConfig.OffStateIDLEMode = TIM_OSSI_DISABLE;
  sBreakDeadTimeConfig.LockLevel = TIM_LOCKLEVEL_OFF;
  sBreakDeadTimeConfig.DeadTime = 139;
  sBreakDeadTimeConfig.BreakState = TIM_BREAK_DISABLE;
  sBreakDeadTimeConfig.BreakPolarity = TIM_BREAKPOLARITY_HIGH;
  sBreakDeadTimeConfig.BreakFilter = 0;
  sBreakDeadTimeConfig.BreakAFMode = TIM_BREAK_AFMODE_INPUT;
  sBreakDeadTimeConfig.Break2State = TIM_BREAK2_DISABLE;
  sBreakDeadTimeConfig.Break2Polarity = TIM_BREAK2POLARITY_HIGH;
  sBreakDeadTimeConfig.Break2Filter = 0;
  sBreakDeadTimeConfig.Break2AFMode = TIM_BREAK_AFMODE_INPUT;
  sBreakDeadTimeConfig.AutomaticOutput = TIM_AUTOMATICOUTPUT_DISABLE;
  if (HAL_TIMEx_ConfigBreakDeadTime(&htim1, &sBreakDeadTimeConfig) != HAL_OK)
  {
    Error_Handler();
  }
  /* USER CODE BEGIN TIM1_Init 2 */
  // STAGES_3
  //	CH1 = CH2 = PWM Mode 1
  // STAGES_2
  //	CH1 = PWM Mode 1, CH2 = PWM Mode 2!
	#ifdef STAGES_3
	  sConfigOC.OCMode = TIM_OCMODE_PWM1;
	  if (HAL_TIM_PWM_ConfigChannel(&htim1, &sConfigOC, TIM_CHANNEL_2) != HAL_OK)
	  {
		Error_Handler();
	  }
	#else
	  sConfigOC.OCMode = TIM_OCMODE_PWM2;
	  if (HAL_TIM_PWM_ConfigChannel(&htim1, &sConfigOC, TIM_CHANNEL_2) != HAL_OK)
	  {
	    Error_Handler();
	  }
	#endif
  /* USER CODE END TIM1_Init 2 */
  HAL_TIM_MspPostInit(&htim1);

}

static void MX_TIM16_Init(void)
{

  htim16.Instance = TIM16;
  htim16.Init.Prescaler = 15000 - 1;
  htim16.Init.CounterMode = TIM_COUNTERMODE_UP;
  htim16.Init.Period = 1000;
  htim16.Init.ClockDivision = TIM_CLOCKDIVISION_DIV1;
  htim16.Init.RepetitionCounter = 0;
  htim16.Init.AutoReloadPreload = TIM_AUTORELOAD_PRELOAD_DISABLE;
  if (HAL_TIM_Base_Init(&htim16) != HAL_OK)
  {
    Error_Handler();
  }

}

static void MX_TIM17_Init(void)
{

  htim17.Instance = TIM17;
  htim17.Init.Prescaler = 15000-1;
  htim17.Init.CounterMode = TIM_COUNTERMODE_UP;
  htim17.Init.Period = 5000;
  htim17.Init.ClockDivision = TIM_CLOCKDIVISION_DIV1;
  htim17.Init.RepetitionCounter = 0;
  htim17.Init.AutoReloadPreload = TIM_AUTORELOAD_PRELOAD_DISABLE;
  if (HAL_TIM_Base_Init(&htim17) != HAL_OK)
  {
    Error_Handler();
  }

}

static void MX_USART2_UART_Init(void)
{

  huart2.Instance = USART2;
  huart2.Init.BaudRate = 115200;
  huart2.Init.WordLength = UART_WORDLENGTH_8B;
  huart2.Init.StopBits = UART_STOPBITS_1;
  huart2.Init.Parity = UART_PARITY_NONE;
  huart2.Init.Mode = UART_MODE_TX_RX;
  huart2.Init.HwFlowCtl = UART_HWCONTROL_NONE;
  huart2.Init.OverSampling = UART_OVERSAMPLING_16;
  huart2.Init.OneBitSampling = UART_ONE_BIT_SAMPLE_DISABLE;
  huart2.Init.ClockPrescaler = UART_PRESCALER_DIV1;
  huart2.AdvancedInit.AdvFeatureInit = UART_ADVFEATURE_NO_INIT;
  if (HAL_UART_Init(&huart2) != HAL_OK)
  {
    Error_Handler();
  }
  if (HAL_UARTEx_SetTxFifoThreshold(&huart2, UART_TXFIFO_THRESHOLD_1_8) != HAL_OK)
  {
    Error_Handler();
  }
  if (HAL_UARTEx_SetRxFifoThreshold(&huart2, UART_RXFIFO_THRESHOLD_1_8) != HAL_OK)
  {
    Error_Handler();
  }
  if (HAL_UARTEx_DisableFifoMode(&huart2) != HAL_OK)
  {
    Error_Handler();
  }

}

static void MX_DMA_Init(void)
{

  /* DMA controller clock enable */
  __HAL_RCC_DMAMUX1_CLK_ENABLE();
  __HAL_RCC_DMA1_CLK_ENABLE();
  __HAL_RCC_DMA2_CLK_ENABLE();

  /* DMA interrupt init */
  /* DMA1_Channel1_IRQn interrupt configuration */
  HAL_NVIC_SetPriority(DMA1_Channel1_IRQn, 0, 0);
  HAL_NVIC_EnableIRQ(DMA1_Channel1_IRQn);
  /* DMA1_Channel2_IRQn interrupt configuration */
  HAL_NVIC_SetPriority(DMA1_Channel2_IRQn, 0, 0);
  HAL_NVIC_EnableIRQ(DMA1_Channel2_IRQn);
  /* DMA1_Channel3_IRQn interrupt configuration */
  HAL_NVIC_SetPriority(DMA1_Channel3_IRQn, 0, 0);
  HAL_NVIC_EnableIRQ(DMA1_Channel3_IRQn);
  /* DMA2_Channel1_IRQn interrupt configuration */
  HAL_NVIC_SetPriority(DMA2_Channel1_IRQn, 0, 0);
  HAL_NVIC_EnableIRQ(DMA2_Channel1_IRQn);

}

static void MX_GPIO_Init(void)
{
  GPIO_InitTypeDef GPIO_InitStruct = {0};

  /* GPIO Ports Clock Enable */
  __HAL_RCC_GPIOC_CLK_ENABLE();
  __HAL_RCC_GPIOF_CLK_ENABLE();
  __HAL_RCC_GPIOA_CLK_ENABLE();
  __HAL_RCC_GPIOB_CLK_ENABLE();

  /*Configure GPIO pin Output Level */
  HAL_GPIO_WritePin(GPIOC, Stg2_NMOS1_Pin|GPIO_PIN_3|GPIO_PIN_4|Stg2_NMOS4_Pin
                          |Stg3_NMOS1_Pin|Stg3_NMOS3_Pin|Stg3_NMOS2_Pin|Stg3_NMOS4_Pin, GPIO_PIN_RESET);

  /*Configure GPIO pin Output Level */
  HAL_GPIO_WritePin(GPIOA, LD2_Pin|SPI1_RST_Pin|Stg2_NMOS3_Pin|SPI1_CS_Pin, GPIO_PIN_RESET);

  /*Configure GPIO pin Output Level */
  HAL_GPIO_WritePin(GPIOB, SPI1_DC_Pin|Stg2_NMOS2_Pin, GPIO_PIN_RESET);

  /*Configure GPIO pin : B1_EXTI13_Pin */
  GPIO_InitStruct.Pin = B1_EXTI13_Pin;
  GPIO_InitStruct.Mode = GPIO_MODE_IT_RISING;
  GPIO_InitStruct.Pull = GPIO_NOPULL;
  HAL_GPIO_Init(B1_EXTI13_GPIO_Port, &GPIO_InitStruct);

  /*Configure GPIO pins : Stg2_NMOS1_Pin PC3 PC4 Stg2_NMOS4_Pin
                           Stg3_NMOS1_Pin Stg3_NMOS3_Pin Stg3_NMOS2_Pin Stg3_NMOS4_Pin */
  GPIO_InitStruct.Pin = Stg2_NMOS1_Pin|GPIO_PIN_3|GPIO_PIN_4|Stg2_NMOS4_Pin
                          |Stg3_NMOS1_Pin|Stg3_NMOS3_Pin|Stg3_NMOS2_Pin|Stg3_NMOS4_Pin;
  GPIO_InitStruct.Mode = GPIO_MODE_OUTPUT_PP;
  GPIO_InitStruct.Pull = GPIO_NOPULL;
  GPIO_InitStruct.Speed = GPIO_SPEED_FREQ_LOW;
  HAL_GPIO_Init(GPIOC, &GPIO_InitStruct);

  /*Configure GPIO pins : LD2_Pin SPI1_RST_Pin Stg2_NMOS3_Pin SPI1_CS_Pin */
  GPIO_InitStruct.Pin = LD2_Pin|SPI1_RST_Pin|Stg2_NMOS3_Pin|SPI1_CS_Pin;
  GPIO_InitStruct.Mode = GPIO_MODE_OUTPUT_PP;
  GPIO_InitStruct.Pull = GPIO_NOPULL;
  GPIO_InitStruct.Speed = GPIO_SPEED_FREQ_LOW;
  HAL_GPIO_Init(GPIOA, &GPIO_InitStruct);

  /*Configure GPIO pins : Tast1_EXTI1_Pin Tast2_EXTI2_Pin */
  GPIO_InitStruct.Pin = Tast1_EXTI1_Pin|Tast2_EXTI2_Pin;
  GPIO_InitStruct.Mode = GPIO_MODE_IT_RISING;
  GPIO_InitStruct.Pull = GPIO_PULLDOWN;
  HAL_GPIO_Init(GPIOB, &GPIO_InitStruct);

  /*Configure GPIO pins : SPI1_DC_Pin Stg2_NMOS2_Pin */
  GPIO_InitStruct.Pin = SPI1_DC_Pin|Stg2_NMOS2_Pin;
  GPIO_InitStruct.Mode = GPIO_MODE_OUTPUT_PP;
  GPIO_InitStruct.Pull = GPIO_NOPULL;
  GPIO_InitStruct.Speed = GPIO_SPEED_FREQ_LOW;
  HAL_GPIO_Init(GPIOB, &GPIO_InitStruct);

  /* EXTI interrupt init*/
  HAL_NVIC_SetPriority(EXTI1_IRQn, 0, 0);
  HAL_NVIC_EnableIRQ(EXTI1_IRQn);

  HAL_NVIC_SetPriority(EXTI2_IRQn, 0, 0);
  HAL_NVIC_EnableIRQ(EXTI2_IRQn);

  HAL_NVIC_SetPriority(EXTI15_10_IRQn, 0, 0);
  HAL_NVIC_EnableIRQ(EXTI15_10_IRQn);

}

void Error_Handler(void)
{
	__disable_irq();
	while (1) {
	}
}
